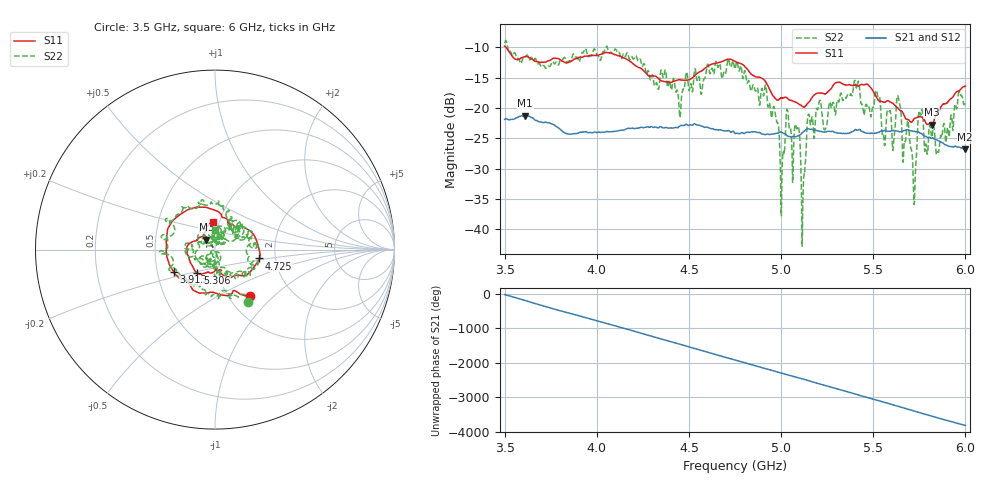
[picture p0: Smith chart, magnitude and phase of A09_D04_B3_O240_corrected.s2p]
! Created with skrf 1.9.0 (http://scikit-rf.org).
# Hz S RI R 50.0
!freq ReS11 ImS11 ReS21 ImS21 ReS12 ImS12 ReS22 ImS22
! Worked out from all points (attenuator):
!   1601 points, 3.5 GHz to 6 GHz, reference 50 ohm
!   highest |S21| = -21.25 dB at 3.611 GHz (marker M1); lowest = -26.8 dB at 5.998 GHz (marker M2)
!   lowest |S11| = -22.8 dB at 5.817 GHz (marker M3), VSWR 1.16, Z = 45.2 + j4.99 ohm
!   |S11| at or under -10 dB: 3.508 GHz to end of sweep
!   |S22| runs from -42.8 to -8.9 dB; largest |S21 - S12| = 0.0011
!   S11 on the Smith chart (normalised r, x): 3.5 GHz: 1.25, -0.72; 3.913 GHz: 0.61, -0.16; 4.725 GHz: 1.65, -0.17; 5.306 GHz: 0.80, -0.21; 6 GHz: 0.93, +0.29
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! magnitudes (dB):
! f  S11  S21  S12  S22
! 3.5 GHz  -9.8  -21.9  -21.9  -9.3
! 3.611 GHz  -11.5  -21.2  -21.2  -11.7
! 3.913 GHz  -11.6  -24.0  -23.9  -11.5
! 3.917 GHz  -11.6  -24.0  -24.0  -11.0
! 4.334 GHz  -15.1  -23.3  -23.2  -16.9
! 4.725 GHz  -12.0  -24.0  -23.8  -13.2
! 4.75 GHz  -12.3  -24.2  -24.1  -13.6
! 4.967 GHz  -18.4  -24.2  -24.2  -20.7
! 5.005 GHz  -18.3  -24.0  -24.0  -31.2
! 5.034 GHz  -18.4  -24.6  -24.5  -20.3
! 5.088 GHz  -19.2  -24.7  -24.6  -23.3
! 5.119 GHz  -19.8  -24.0  -23.9  -34.6
! 5.167 GHz  -18.3  -23.5  -23.5  -21.5
! 5.306 GHz  -15.7  -24.1  -24.0  -18.7
! 5.584 GHz  -18.8  -23.8  -23.8  -20.6
! 5.611 GHz  -19.3  -23.7  -23.6  -25.5
! 5.639 GHz  -20.2  -23.9  -23.8  -18.7
! 5.722 GHz  -21.8  -23.8  -23.8  -35.9
! 5.755 GHz  -21.4  -24.2  -24.1  -21.0
! 5.817 GHz  -22.8  -25.0  -24.9  -24.8
! 5.998 GHz  -16.4  -26.8  -26.7  -19.3
! 6 GHz  -16.4  -26.8  -26.7  -19.3
